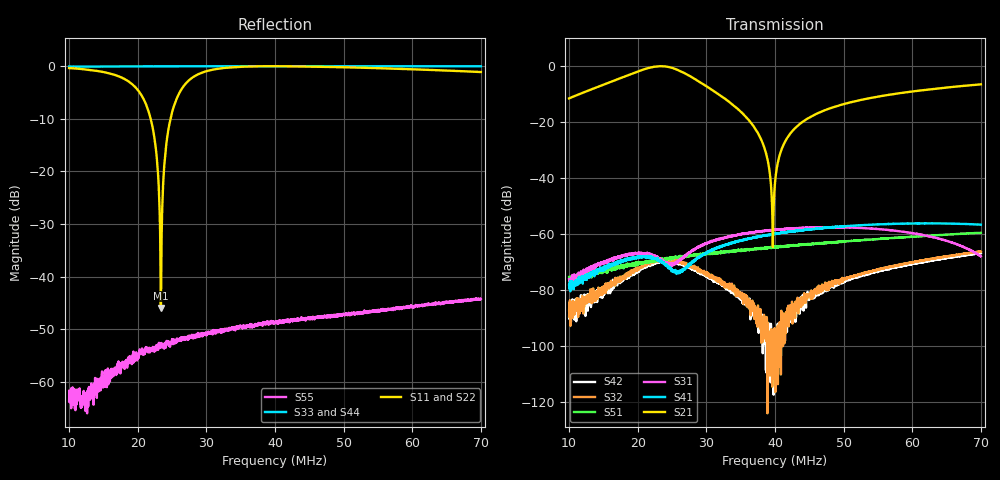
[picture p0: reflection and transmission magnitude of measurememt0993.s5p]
#  HZ  S  RI  R  50.00
! Rohde & Schwarz ZVT8 8Ports - Version 4.11 - 1300.0000k08 SN: 100242
! Date: 2026-07-06 11:24:22
! Measurements: S11 S12 S13 S14 S15 S21 S22 S23 S24 S25 S31 S32 S33 S34 S35 S41 S42 S43 S44 S45 S51 S52 S53 S54 S55
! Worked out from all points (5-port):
!   3001 points, 10 MHz to 70 MHz, reference 50 ohm
!   strongest paths, dB at 10 MHz, 25 MHz, 40 MHz, 55 MHz, 70 MHz:
!     S21: -11.6, -0.7, -41.7, -11.0, -6.6
!     S41: -78.1, -72.9, -60.0, -56.6, -56.7
!     S31: -76.2, -70.7, -58.5, -58.3, -68.0
!     S51: -75.4, -68.3, -64.7, -61.8, -59.6
!     S32: -87.3, -69.4, -103.6, -72.8, -66.3
!     S42: -89.7, -69.6, -99.1, -73.5, -66.8
!   lowest |S11| = -46.0 dB at 23.36 MHz (marker M1), VSWR 1.01, Z = 50.5 + j0.212 ohm
!   |S11| at or under -10 dB: 21.88 MHz to 24.77 MHz (2.888 MHz wide, 12.4 % of centre)
